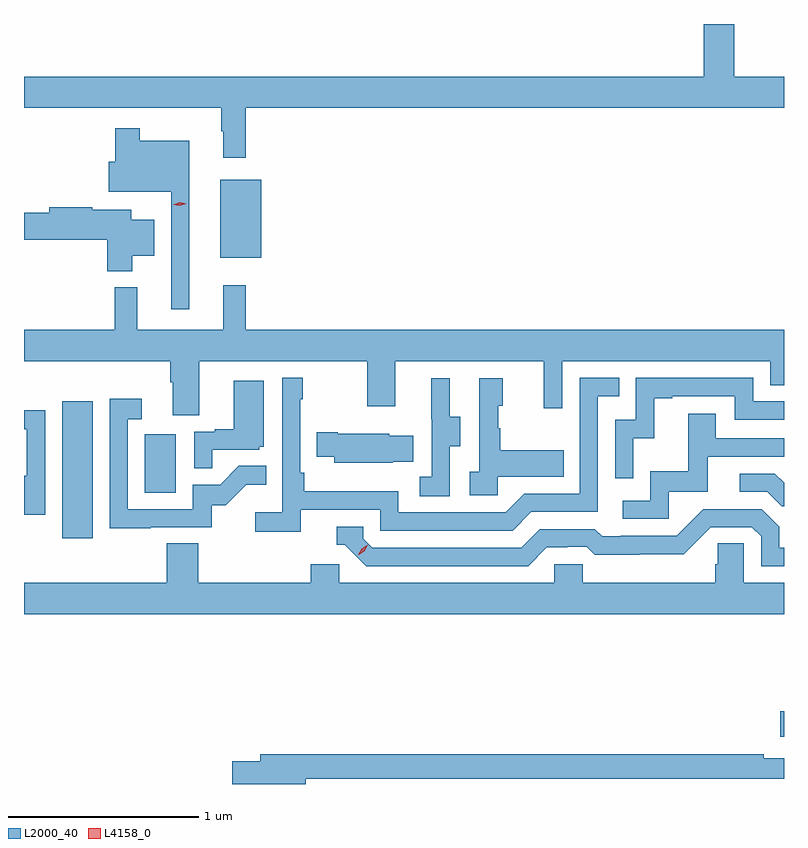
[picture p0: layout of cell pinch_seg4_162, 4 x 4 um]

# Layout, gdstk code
import gdstk
lib = gdstk.Library(unit=1e-6, precision=1e-09)
def R(c, l, rs):  # rectangles x0, y0, x1, y1
    for r in rs: c.add(gdstk.rectangle(r[:2], r[2:], *l))
def P(c, l, *ps):  # polygons
    for p in ps: c.add(gdstk.Polygon(p, *l))
L2000_40 = (2000, 40)
L4158_0 = (4158, 0)

pinch_seg4_162 = lib.new_cell('pinch_seg4_162')
R(pinch_seg4_162, L2000_40, [(1118.16,790.847,1118.179,790.982), (1114.379,791.892,1114.54,792.613), (1114.814,792.132,1114.978,792.439), (1115.213,793.367,1115.428,793.777)])
P(pinch_seg4_162, L2000_40, [(1118.179,794.32),(1117.917,794.32),(1117.917,794.598),(1117.757,794.598),(1117.757,794.32),(1114.179,794.32),(1114.179,794.156),(1115.217,794.156),(1115.217,794.033),(1115.228,794.033),(1115.228,793.893),(1115.345,793.893),(1115.345,794.156),(1118.179,794.156)],
  [(1115.05,793.984),(1114.789,793.984),(1114.789,794.05),(1114.66,794.05),(1114.66,793.873),(1114.626,793.873),(1114.626,793.715),(1114.953,793.715),(1114.953,793.098),(1115.05,793.098)],
  [(1114.75,793.379),(1114.864,793.379),(1114.864,793.567),(1114.744,793.567),(1114.744,793.621),(1114.538,793.621),(1114.538,793.634),(1114.313,793.634),(1114.313,793.604),(1114.179,793.604),(1114.179,793.462),(1114.616,793.462),(1114.616,793.298),(1114.75,793.298)],
  [(1115.101,792.824),(1115.986,792.824),(1115.986,792.585),(1116.133,792.585),(1116.133,792.824),(1116.914,792.824),(1116.914,792.576),(1117.011,792.576),(1117.011,792.824),(1118.106,792.824),(1118.106,792.697),(1118.179,792.697),(1118.179,792.988),(1115.345,792.988),(1115.345,793.222),(1115.228,793.222),(1115.228,792.988),(1114.775,792.988),(1114.775,793.213),(1114.657,793.213),(1114.657,792.988),(1114.179,792.988),(1114.179,792.824),(1114.949,792.824),(1114.949,792.712),(1114.961,792.712),(1114.961,792.538),(1115.101,792.538)],
  [(1115.636,792.042),(1116.054,792.042),(1116.054,791.931),(1116.751,791.931),(1116.85,792.03),(1117.2,792.03),(1117.2,792.639),(1117.313,792.639),(1117.313,792.735),(1117.104,792.735),(1117.104,792.126),(1116.813,792.126),(1116.714,792.027),(1116.15,792.027),(1116.15,792.139),(1115.654,792.139),(1115.654,792.235),(1115.634,792.235),(1115.634,792.623),(1115.647,792.623),(1115.647,792.736),(1115.538,792.736),(1115.538,792.028),(1115.397,792.028),(1115.397,791.926),(1115.636,791.926)],
  [(1117.386,792.419),(1117.496,792.419),(1117.496,792.627),(1117.591,792.627),(1117.591,792.639),(1117.92,792.639),(1117.92,792.516),(1118.179,792.516),(1118.179,792.612),(1118.016,792.612),(1118.016,792.735),(1117.398,792.735),(1117.398,792.516),(1117.29,792.516),(1117.29,792.207),(1117.386,792.207)],
  [(1116.42,792.376),(1116.475,792.376),(1116.475,792.531),(1116.421,792.531),(1116.421,792.733),(1116.323,792.733),(1116.323,792.519),(1116.324,792.519),(1116.324,792.215),(1116.261,792.215),(1116.261,792.112),(1116.42,792.112)],
  [(1116.672,792.215),(1117.019,792.215),(1117.019,792.355),(1116.685,792.355),(1116.685,792.47),(1116.675,792.47),(1116.675,792.588),(1116.7,792.588),(1116.7,792.733),(1116.576,792.733),(1116.576,792.242),(1116.525,792.242),(1116.525,792.117),(1116.672,792.117)],
  [(1115.171,792.357),(1115.418,792.357),(1115.418,792.372),(1115.44,792.372),(1115.44,792.721),(1115.282,792.721),(1115.282,792.466),(1115.183,792.466),(1115.183,792.453),(1115.076,792.453),(1115.076,792.259),(1115.171,792.259)],
  [(1114.847,791.949),(1115.166,791.949),(1115.166,792.066),(1115.242,792.066),(1115.349,792.173),(1115.453,792.173),(1115.453,792.272),(1115.309,792.272),(1115.211,792.174),(1115.067,792.174),(1115.067,792.045),(1114.725,792.045),(1114.725,792.519),(1114.798,792.519),(1114.798,792.625),(1114.629,792.625),(1114.629,791.944),(1114.847,791.944)],
  [(1114.29,792.566),(1114.179,792.566),(1114.179,792.465),(1114.194,792.465),(1114.194,792.22),(1114.181,792.22),(1114.181,792.124),(1114.179,792.124),(1114.179,792.015),(1114.29,792.015)],
  [(1117.572,792.135),(1117.777,792.135),(1117.777,792.321),(1118.179,792.321),(1118.179,792.417),(1117.819,792.417),(1117.819,792.547),(1117.675,792.547),(1117.675,792.244),(1117.476,792.244),(1117.476,792.09),(1117.329,792.09),(1117.329,791.994),(1117.572,791.994)],
  [(1116.119,792.293),(1116.227,792.293),(1116.227,792.43),(1116.102,792.43),(1116.102,792.442),(1115.83,792.442),(1115.83,792.45),(1115.719,792.45),(1115.719,792.32),(1115.813,792.32),(1115.813,792.29),(1116.119,792.29)],
  [(1118.179,792.183),(1118.13,792.231),(1117.947,792.231),(1117.947,792.135),(1118.091,792.135),(1118.166,792.06),(1118.179,792.06)],
  [(1116.931,791.844),(1117.038,791.844),(1117.038,791.847),(1117.141,791.847),(1117.183,791.805),(1117.416,791.805),(1117.416,791.807),(1117.652,791.807),(1117.794,791.949),(1118.01,791.949),(1118.058,791.901),(1118.058,791.745),(1118.179,791.745),(1118.179,791.841),(1118.155,791.841),(1118.155,791.951),(1118.061,792.045),(1117.755,792.045),(1117.614,791.904),(1117.321,791.904),(1117.321,791.901),(1117.222,791.901),(1117.183,791.94),(1116.894,791.94),(1116.795,791.841),(1116.012,791.841),(1115.964,791.889),(1115.964,791.952),(1115.825,791.952),(1115.825,791.856),(1115.868,791.856),(1115.979,791.745),(1116.832,791.745)],
  [(1118.179,791.656),(1117.968,791.656),(1117.968,791.864),(1117.831,791.864),(1117.831,791.754),(1117.817,791.754),(1117.817,791.656),(1117.119,791.656),(1117.119,791.754),(1116.969,791.754),(1116.969,791.656),(1115.838,791.656),(1115.838,791.754),(1115.687,791.754),(1115.687,791.656),(1115.096,791.656),(1115.096,791.864),(1114.931,791.864),(1114.931,791.656),(1114.179,791.656),(1114.179,791.492),(1118.179,791.492)],
  [(1115.662,790.626),(1118.179,790.626),(1118.179,790.734),(1118.072,790.734),(1118.072,790.754),(1115.423,790.754),(1115.423,790.718),(1115.274,790.718),(1115.274,790.598),(1115.662,790.598)])
P(pinch_seg4_162, L4158_0, [(1115.939,791.804),(1115.939,791.804),(1115.956,791.837),(1115.987,791.856),(1115.987,791.856),(1115.987,791.856),(1115.971,791.823),(1115.94,791.804)],
  [(1115,793.641),(1114.964,793.648),(1114.963,793.648),(1114.964,793.648),(1114.998,793.661),(1115.034,793.653),(1115.034,793.653),(1115.034,793.653)])

lib.write_gds('pinch_seg4_162.gds')
